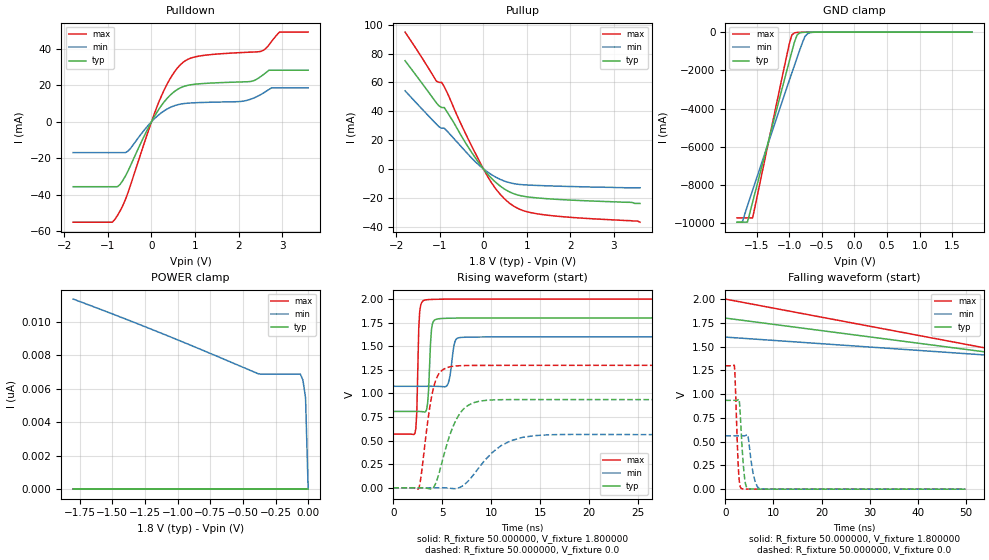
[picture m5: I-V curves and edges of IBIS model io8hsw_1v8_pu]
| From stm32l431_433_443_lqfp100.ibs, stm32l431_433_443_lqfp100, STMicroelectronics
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|   Model io8hsw_1v8_pu
[Model]  io8hsw_1v8_pu
Model_type I/O
Polarity   Non-Inverting
Enable   Active-Low
Vinl =   0.540000V
Vinh =   1.260000V
Vmeas =  0.900000V
Cref =   100.000000nF
Rref =   1.000000k
Vref =   1.800000V
C_comp   3.002500pF   2.845500pF   3.023700pF
[Temperature Range]   25.000000   0.125000k   -40.000000
[Pullup Reference]   1.800000V   1.600000V   2.000000V
[Pulldown Reference]   0.0V   0.0V   0.0V
[POWER Clamp Reference]   1.800000V   1.600000V   2.000000V
[GND Clamp Reference]   0.0V   0.0V   0.0V
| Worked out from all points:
|   slope of the pulldown table from 0 to 0.27 V, typ, clamps not added: 26.4 ohm
|   slope of the pullup table from 0 to 0.27 V, typ, clamps not added: 30.1 ohm
|   GND clamp passes 1 mA (typ) near -0.58 V on its own axis
|   rising waveform, R_fixture 50.000000, V_fixture 1.800000: 20-80 % time 264ps typ, 405ps min, 197ps max; typ from 0.809 V to 1.8 V
|   rising waveform, R_fixture 50.000000, V_fixture 0.0: 20-80 % time 1.8ns typ, 3.06ns min, 1.06ns max; typ from 0 V to 0.934 V
|   falling waveform, R_fixture 50.000000, V_fixture 1.800000: 20-80 % time 90.1ns typ, 90.1ns min, 90.1ns max; typ from 1.8 V to 0.809 V
|   falling waveform, R_fixture 50.000000, V_fixture 0.0: 20-80 % time 718ps typ, 1.03ns min, 555ps max; typ from 0.934 V to 0 V
[Pulldown]
|Voltage   I(typ)   I(min)   I(max)
-1.8V     -35.64mA   -16.93mA   -55.1mA
-840mV    -35.64mA   -16.93mA   -53.52mA
-720mV    -34.31mA   -16.93mA   -48.86mA
-540mV    -27.04mA   -16.13mA   -38.89mA
240mV     9.303mA    5.14mA     14.78mA
480mV     15.67mA    8.374mA    25.64mA
720mV     19.18mA    9.883mA    32.46mA
1.08V     20.76mA    10.49mA    35.96mA
2.1V      21.86mA    11.27mA    37.98mA
2.52V     24.96mA    15.02mA    38.63mA
2.94V     28.26mA    18.61mA    49.17mA
3.6V      28.26mA    18.61mA    49.17mA
[Pullup]
|Voltage   I(typ)   I(min)   I(max)
-1.8V     75.07mA    54.19mA    94.94mA
-1.08V    45.8mA     31.06mA    60.87mA
-960mV    42.59mA    28.22mA    60.05mA
-900mV    42.58mA    28.22mA    57.06mA
-480mV    21.53mA    14.44mA    28.9mA
-240mV    10.08mA    6.588mA    14.1mA
0V        40fA       13.9pA     0A
300mV     -9.801mA   -6.008mA   -14.46mA
600mV     -15.96mA   -9.582mA   -23.81mA
900mV     -18.89mA   -10.98mA   -28.81mA
1.32V     -20.37mA   -11.6mA    -31.56mA
3.6V      -24mA      -13.1mA    -37mA
[GND_clamp]
|Voltage   I(typ)   I(min)   I(max)
-1.8V     -9.93A     -9.932A    -9.707A
-1.72V    -9.93A     -9.932A    -9.707A
-1.64V    -9.93A     -9.083A    -9.707A
-1.56V    -8.876A    -8.251A    -9.707A
-1V       -1.54A     -2.541A    -631mA
-960mV    -1.028A    -2.139A    -153.7mA
-920mV    -527mA     -1.74A     -39.12mA
-880mV    -155.6mA   -1.344A    -18.01mA
-840mV    -45.32mA   -953mA     -12.68mA
-760mV    -8.418mA   -235mA     -7.62mA
-680mV    -3.44mA    -33.01mA   -3.865mA
1.8V      0A         0A         0A
[POWER_clamp]
|Voltage   I(typ)   I(min)   I(max)
-1.8V     0A         11.37nA    0A
-1.14V    0A         9.374nA    0A
-380mV    0A         6.895nA    0A
-60mV     0A         6.881nA    0A
-40mV     0A         6.518nA    0A
-20mV     0A         5.452nA    0A
0V        0A         0A         0A
[Ramp]
| variable   typ   min   max
dV/dt_r  0.56063/1.80220n   0.33686/3.05671n   0.77868/1.05812n
dV/dt_f  0.59464/1.73024n   0.31464/3.04463n   0.85906/0.96420n
R_load = 50.000000
[Rising Waveform]
R_fixture= 50.000000
V_fixture= 1.800000
V_fixture_min= 1.600000
V_fixture_max= 2.000000
|time   V(typ)   V(min)   V(max)
0s        808.7mV    1.076V     568.2mV
2.202ns   808.8mV    1.076V     574.9mV
2.402ns   808.8mV    1.076V     804mV
2.703ns   808.5mV    1.076V     1.874V
3.203ns   802.9mV    1.076V     1.989V
3.504ns   892.4mV    1.076V     1.994V
3.904ns   1.68V      1.076V     1.996V
4.505ns   1.789V     1.075V     1.998V
6.907ns   1.799V     1.593V     2V
49.85ns   1.8V       1.6V       2V
[Rising Waveform]
R_fixture= 50.000000
V_fixture= 0.0
V_fixture_min= 0.0
V_fixture_max= 0.0
|time   V(typ)   V(min)   V(max)
0s        2.998nV    80.83nV    2.225nV
2.603ns   15.19uV    -22.24nV   -7.666mV
3.704ns   -11.07mV   680.5pV    838mV
4.204ns   19.29mV    9.234uV    1.096V
5.906ns   595.3mV    -6.329mV   1.284V
6.807ns   788mV      4.452mV    1.294V
8.108ns   896.9mV    125.8mV    1.296V
11.01ns   933.4mV    446.5mV    1.297V
14.41ns   934.8mV    552.1mV    1.297V
49.85ns   934.4mV    561.5mV    1.298V
[Falling Waveform]
R_fixture= 50.000000
V_fixture= 1.800000
V_fixture_min= 1.600000
V_fixture_max= 2.000000
|time   V(typ)   V(min)   V(max)
0s        1.8V       1.6V       2V
150.2ns   808.8mV    1.076V     568.2mV
1.051us   808.7mV    1.076V     568.2mV
14.86us   808.7mV    1.076V     568.2mV
[Falling Waveform]
R_fixture= 50.000000
V_fixture= 0.0
V_fixture_min= 0.0
V_fixture_max= 0.0
|time   V(typ)   V(min)   V(max)
0s        934.4mV    561.5mV    1.298V
1.902ns   934.4mV    561.5mV    1.3V
2.803ns   948mV      561.5mV    156.9mV
3.403ns   522mV      561.4mV    5.865mV
3.904ns   172mV      561.1mV    2.319mV
4.304ns   36.57mV    566.3mV    1.568mV
4.705ns   8.397mV    560.8mV    1.191mV
5.906ns   1.314mV    138.6mV    625uV
7.207ns   549.6uV    5.718mV    408.3uV
49.85ns   2.998nV    80.83nV    2.225nV
